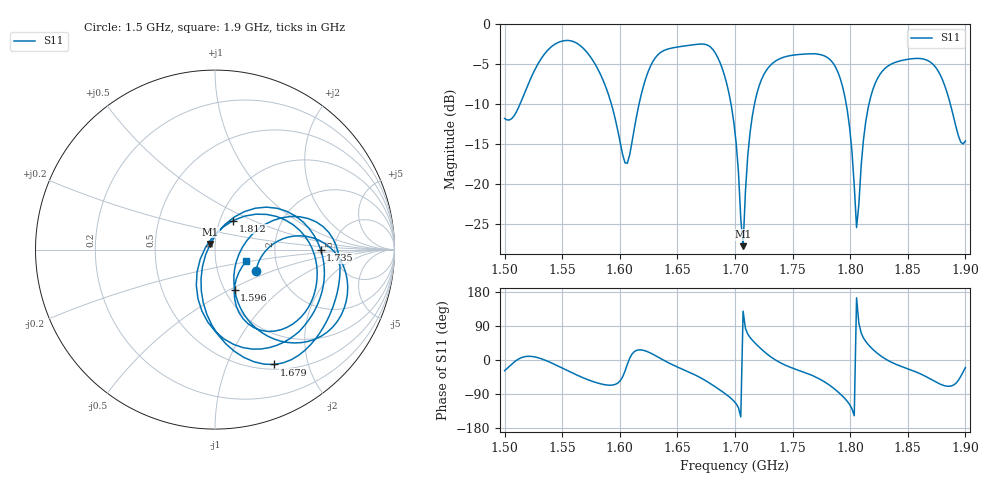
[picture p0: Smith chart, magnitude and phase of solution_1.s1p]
!Created with skrf (http://scikit-rf.org).
# GHz S RI R 50.0
! Port[1] = 1
!freq ReS11 ImS11
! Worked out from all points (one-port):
!   200 points, 1.5 GHz to 1.9 GHz, reference 50 ohm
!   lowest |S11| = -27.7 dB at 1.707 GHz (marker M1), VSWR 1.09, Z = 47.4 + j3.04 ohm
!   |S11| at or under -10 dB: 1.593 GHz to 1.617 GHz (23.91 MHz wide, 1.49 % of centre); 1.697 GHz to 1.717 GHz (20.32 MHz wide, 1.19 % of centre); 1.797 GHz to 1.816 GHz (19.72 MHz wide, 1.09 % of centre)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
!   S11 on the Smith chart (normalised r, x): 1.5 GHz: 1.53, -0.40; 1.596 GHz: 1.11, -0.53; 1.679 GHz: 0.56, -1.49; 1.735 GHz: 3.86, -0.01; 1.812 GHz: 1.16, +0.39; 1.9 GHz: 1.41, -0.19
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1.5  0.2277 -0.1214
1.526131  0.5122 0.0733
1.550251  0.7309 -0.2886
1.570352  0.4416 -0.5202
1.596482  0.1092 -0.2228
1.600503  0.1054 -0.146
1.606533  0.1329 -0.027
1.624623  0.4715 0.1831
1.636683  0.6753 0.0211
1.650754  0.6805 -0.2416
1.678894  0.3278 -0.6401
1.692965  -0.0172 -0.4212
1.701005  -0.0779 -0.1635
1.707035  -0.0258 0.032
1.711055  0.0549 0.1397
1.715075  0.1643 0.212
1.735176  0.5888 -0.000624
1.751256  0.5915 -0.2507
1.783417  0.2081 -0.5543
1.793467  -0.0401 -0.4037
1.801508  -0.1001 -0.1264
1.805528  -0.0517 0.0146
1.811558  0.1015 0.162
1.823618  0.436 0.138
1.851759  0.5493 -0.2578
1.875879  0.255 -0.4497
1.88794  0.1097 -0.2767
1.9  0.1753 -0.064
